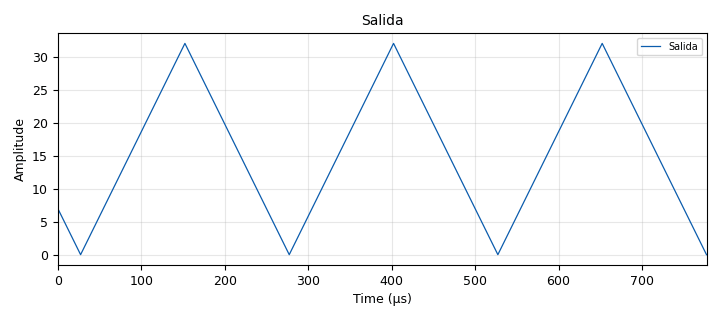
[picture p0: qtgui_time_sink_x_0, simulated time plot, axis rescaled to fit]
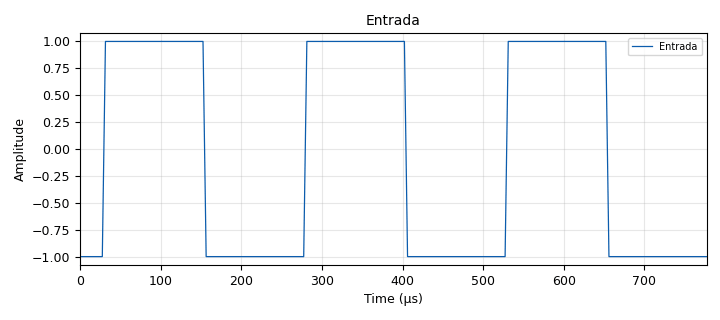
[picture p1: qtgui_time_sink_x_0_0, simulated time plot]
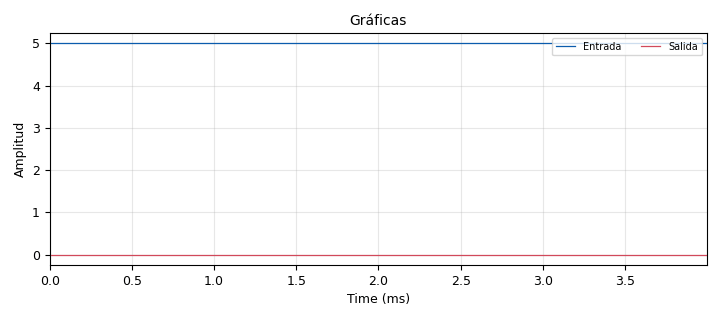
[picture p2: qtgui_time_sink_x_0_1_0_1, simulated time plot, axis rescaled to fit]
options:
  parameters:
    author: Uribe, Velasquez,Quijano
    generate_options: qt_gui
    id: Práctica_1
    output_language: python
    title: Practica 2
  states: {}

blocks:
- name: samp_rate
  id: variable
  parameters:
    value: '256000'
  states: {}
- name: blocks_throttle2_0
  id: blocks_throttle2
  parameters:
    samples_per_second: samp_rate
    type: float
  states: {}
- name: blocks_throttle2_0_0_1
  id: blocks_throttle2
  parameters:
    samples_per_second: samp_rate
    type: float
  states: {}
- name: blocks_vector_source_x_0
  id: blocks_vector_source_x
  parameters:
    repeat: 'True'
    type: float
    vector: (1, 1, 1, 1,1, 1, 1, 1,1, 1, 1, 1,1, 1, 1, 1,1, 1, 1, 1,1, 1, 1, 1,1, 1, 1, 1,1, 1, 1, 1,-1, -1, -1, -1,-1, -1, -1, -1,-1, -1, -1, -1,-1, -1, -1, -1,-1, -1, -1, -1,-1, -1, -1, -1,-1, -1, -1, -1,-1, -1, -1, -1)
  states: {}
- name: blocks_vector_source_x_0_0
  id: blocks_vector_source_x
  parameters:
    repeat: 'True'
    type: float
    vector: (1,1,1,1,1,1,1,1,-1,-1,-1,-1,-1,-1,-1,-1)
  states: {state: disabled}
- name: blocks_vector_source_x_0_1
  id: blocks_vector_source_x
  parameters:
    repeat: 'True'
    type: float
    vector: (5,5)
  states: {}
- name: epy_block_0
  id: epy_block
  parameters:
    _source_code: |-
      import numpy as np
      from gnuradio import gr

      class blk(gr.sync_block):

          def __init__(self):
              gr.sync_block.__init__(
                  self,
                  name='Analizador_Estadistico',
                  in_sig=[np.float32],
                  out_sig=[np.float32,
                           np.float32,
                           np.float32,
                           np.float32,
                           np.float32]
              )

          def work(self, input_items, output_items):

              signal_in = input_items[0]

              mean_out = output_items[0]
              avg_out  = output_items[1]
              rms_out  = output_items[2]
              power_out = output_items[3]
              std_out  = output_items[4]

              # Media aritmética
              mean_value = np.mean(signal_in)

              # Potencia media
              power_value = np.mean(signal_in**2)

              # RMS
              rms_value = np.sqrt(power_value)

              # Desviación estándar
              std_value = np.std(signal_in)

              mean_out[:] = mean_value
              avg_out[:]  = mean_value
              rms_out[:]  = rms_value
              power_out[:] = power_value
              std_out[:]  = std_value

              return len(signal_in)
  states: {state: disabled}
- name: epy_block_0_0_0
  id: epy_block
  parameters:
    _source_code: |
      import numpy as np
      from gnuradio import gr

      class blk(gr.sync_block):

          def __init__(self):
              gr.sync_block.__init__(
                  self,
                  name='Acumulador',
                  in_sig=[np.float32],
                  out_sig=[np.float32]
              )

              self.total = 0.0   # memoria del sistema

          def work(self, input_items, output_items):

              entrada = input_items[0]
              salida = output_items[0]

              for i in range(len(entrada)):
                  self.total += entrada[i]
                  salida[i] = self.total

              return len(salida)
  states: {}
- name: epy_block_0_1
  id: epy_block
  parameters:
    _source_code: |-
      import numpy as np
      from gnuradio import gr

      class blk(gr.sync_block):
          def __init__(self):
              gr.sync_block.__init__(
                  self,
                  name='Diferenciador', # Nombre del bloq
                  in_sig=[np.float32],
                  out_sig=[np.float32]
              )
              self.last_sample = 0

          def work(self, input_items, output_items):
              x = input_items[0]   # Entrada
              y0 = output_items[0] # Salida

              y0[0] = x[0] - self.last_sample

              for i in range(1, len(x)):
                  y0[i] = x[i] - x[i-1]

              self.last_sample = x[-1]

              return len(y0)
  states: {}
- name: qtgui_number_sink_0
  id: qtgui_number_sink
  parameters:
    graph_type: qtgui.NUM_GRAPH_HORIZ
    name: Media Cuadrática
    type: float
  states: {state: disabled}
- name: qtgui_number_sink_0_0
  id: qtgui_number_sink
  parameters:
    graph_type: qtgui.NUM_GRAPH_HORIZ
    name: Entrada
    type: float
  states: {state: disabled}
- name: qtgui_number_sink_0_1
  id: qtgui_number_sink
  parameters:
    graph_type: qtgui.NUM_GRAPH_HORIZ
    name: Promedio Tiempo
    type: float
  states: {state: disabled}
- name: qtgui_number_sink_0_2
  id: qtgui_number_sink
  parameters:
    graph_type: qtgui.NUM_GRAPH_HORIZ
    name: Desviación Estándar
    type: float
  states: {state: disabled}
- name: qtgui_number_sink_0_3
  id: qtgui_number_sink
  parameters:
    graph_type: qtgui.NUM_GRAPH_HORIZ
    name: Media
    type: float
  states: {state: disabled}
- name: qtgui_number_sink_0_4
  id: qtgui_number_sink
  parameters:
    graph_type: qtgui.NUM_GRAPH_HORIZ
    name: RMS
    type: float
  states: {state: disabled}
- name: qtgui_time_sink_x_0
  id: qtgui_time_sink_x
  parameters:
    label1: Salida
    name: '"Salida"'
    size: '200'
    srate: samp_rate
    type: float
  states: {}
- name: qtgui_time_sink_x_0_0
  id: qtgui_time_sink_x
  parameters:
    label1: Entrada
    name: '"Entrada"'
    size: '200'
    srate: samp_rate
    type: float
  states: {}
- name: qtgui_time_sink_x_0_1
  id: qtgui_time_sink_x
  parameters:
    label1: Salida
    name: Media
    size: '200'
    srate: samp_rate
    type: float
  states: {state: disabled}
- name: qtgui_time_sink_x_0_1_0_1
  id: qtgui_time_sink_x
  parameters:
    ctrlpanel: 'True'
    label1: Entrada
    label2: Salida
    name: '"Gráficas"'
    nconnections: '2'
    size: '1024'
    srate: samp_rate
    type: float
    ylabel: Amplitud
  states: {}
- name: qtgui_time_sink_x_0_2
  id: qtgui_time_sink_x
  parameters:
    label1: Salida
    name: Media cuadrática
    size: '200'
    srate: samp_rate
    type: float
  states: {state: disabled}
- name: qtgui_time_sink_x_0_2_0
  id: qtgui_time_sink_x
  parameters:
    label1: Entrada
    name: Señal de entrada
    size: '2560'
    srate: samp_rate
    type: float
  states: {state: disabled}

connections:
- [blocks_throttle2_0, '0', qtgui_time_sink_x_0, '0']
- [blocks_throttle2_0_0_1, '0', qtgui_time_sink_x_0_1_0_1, '1']
- [blocks_vector_source_x_0, '0', epy_block_0, '0']
- [blocks_vector_source_x_0, '0', epy_block_0_0_0, '0']
- [blocks_vector_source_x_0, '0', qtgui_time_sink_x_0_0, '0']
- [blocks_vector_source_x_0_0, '0', epy_block_0, '0']
- [blocks_vector_source_x_0_0, '0', qtgui_number_sink_0_0, '0']
- [blocks_vector_source_x_0_0, '0', qtgui_time_sink_x_0_2_0, '0']
- [blocks_vector_source_x_0_1, '0', epy_block_0_1, '0']
- [blocks_vector_source_x_0_1, '0', qtgui_time_sink_x_0_1_0_1, '0']
- [epy_block_0, '0', qtgui_number_sink_0_3, '0']
- [epy_block_0, '0', qtgui_time_sink_x_0_1, '0']
- [epy_block_0, '1', qtgui_number_sink_0, '0']
- [epy_block_0, '1', qtgui_time_sink_x_0_2, '0']
- [epy_block_0, '2', qtgui_number_sink_0_4, '0']
- [epy_block_0, '3', qtgui_number_sink_0_1, '0']
- [epy_block_0, '4', qtgui_number_sink_0_2, '0']
- [epy_block_0_0_0, '0', blocks_throttle2_0, '0']
- [epy_block_0_1, '0', blocks_throttle2_0_0_1, '0']

metadata:
  file_format: 1
  grc_version: 3.10.12.0
